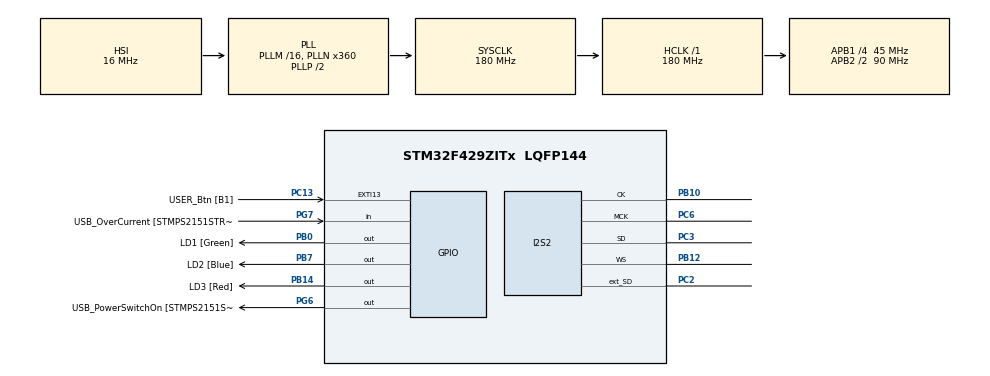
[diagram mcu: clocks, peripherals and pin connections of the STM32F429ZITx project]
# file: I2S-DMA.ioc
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Dma.I2S2_EXT_RX.1.Direction=DMA_PERIPH_TO_MEMORY
Dma.I2S2_EXT_RX.1.FIFOMode=DMA_FIFOMODE_DISABLE
Dma.I2S2_EXT_RX.1.Instance=DMA1_Stream3
Dma.I2S2_EXT_RX.1.MemDataAlignment=DMA_MDATAALIGN_HALFWORD
Dma.I2S2_EXT_RX.1.MemInc=DMA_MINC_ENABLE
Dma.I2S2_EXT_RX.1.Mode=DMA_CIRCULAR
Dma.I2S2_EXT_RX.1.PeriphDataAlignment=DMA_PDATAALIGN_HALFWORD
Dma.I2S2_EXT_RX.1.PeriphInc=DMA_PINC_DISABLE
Dma.I2S2_EXT_RX.1.Priority=DMA_PRIORITY_VERY_HIGH
Dma.Request0=SPI2_TX
Dma.Request1=I2S2_EXT_RX
Dma.SPI2_TX.0.Direction=DMA_MEMORY_TO_PERIPH
Dma.SPI2_TX.0.FIFOMode=DMA_FIFOMODE_DISABLE
Dma.SPI2_TX.0.Instance=DMA1_Stream4
Dma.SPI2_TX.0.MemDataAlignment=DMA_MDATAALIGN_HALFWORD
Dma.SPI2_TX.0.MemInc=DMA_MINC_ENABLE
Dma.SPI2_TX.0.Mode=DMA_CIRCULAR
Dma.SPI2_TX.0.PeriphDataAlignment=DMA_PDATAALIGN_HALFWORD
Dma.SPI2_TX.0.PeriphInc=DMA_PINC_DISABLE
Dma.SPI2_TX.0.Priority=DMA_PRIORITY_VERY_HIGH
I2S2.AudioFreq=I2S_AUDIOFREQ_48K
I2S2.DataFormat=I2S_DATAFORMAT_24B
I2S2.ErrorAudioFreq=0.19 %
I2S2.FullDuplexMode=I2S_FULLDUPLEXMODE_ENABLE
I2S2.Instance=SPI$Index
I2S2.RealAudioFreq=48.095 KHz
I2S2.VirtualMode=I2S_MODE_MASTER
Mcu.Family=STM32F4
Mcu.Name=STM32F429ZITx
Mcu.Package=LQFP144
NVIC.DMA1_Stream3_IRQn=true\:0\:0\:false\:false\:true\:false\:true\:true
NVIC.DMA1_Stream4_IRQn=true\:0\:0\:false\:false\:true\:false\:true\:true
NVIC.PriorityGroup=NVIC_PRIORITYGROUP_4
PA1.GPIO_Label=RMII_REF_CLK [LAN8742A-CZ-TR_REFCLK0]
PA1.Signal=ETH_REF_CLK
PA10.GPIO_Label=USB_ID
PA10.Signal=USB_OTG_FS_ID
PA11.GPIO_Label=USB_DM
PA11.Signal=USB_OTG_FS_DM
PA12.GPIO_Label=USB_DP
PA12.Signal=USB_OTG_FS_DP
PA13.GPIO_Label=TMS
PA13.Signal=SYS_JTMS-SWDIO
PA14.GPIO_Label=TCK
PA14.Signal=SYS_JTCK-SWCLK
PA2.GPIO_Label=RMII_MDIO [LAN8742A-CZ-TR_MDIO]
PA2.Signal=ETH_MDIO
PA7.GPIO_Label=RMII_CRS_DV [LAN8742A-CZ-TR_CRS_DV]
PA7.Signal=ETH_CRS_DV
PA8.GPIO_Label=USB_SOF [TP1]
PA8.Signal=USB_OTG_FS_SOF
PA9.GPIO_Label=USB_VBUS
PA9.Signal=USB_OTG_FS_VBUS
PB0.GPIO_Label=LD1 [Green]
PB0.Signal=GPIO_Output
PB10.Mode=Full_Duplex_Master
PB10.Signal=I2S2_CK
PB12.Mode=Full_Duplex_Master
PB12.Signal=I2S2_WS
PB13.GPIO_Label=RMII_TXD1 [LAN8742A-CZ-TR_TXD1]
PB13.Signal=ETH_TXD1
PB14.GPIO_Label=LD3 [Red]
PB14.Signal=GPIO_Output
PB7.GPIO_Label=LD2 [Blue]
PB7.Signal=GPIO_Output
PC1.GPIO_Label=RMII_MDC [LAN8742A-CZ-TR_MDC]
PC1.Signal=ETH_MDC
PC13.GPIO_Label=USER_Btn [B1]
PC13.Signal=GPXTI13
PC14/OSC32_IN.Signal=RCC_OSC32_IN
PC15/OSC32_OUT.Signal=RCC_OSC32_OUT
PC2.Mode=Full_Duplex_Master
PC2.Signal=I2S2_ext_SD
PC3.Mode=Full_Duplex_Master
PC3.Signal=I2S2_SD
PC4.GPIO_Label=RMII_RXD0 [LAN8742A-CZ-TR_RXD0]
PC4.Signal=ETH_RXD0
PC5.GPIO_Label=RMII_RXD1 [LAN8742A-CZ-TR_RXD1]
PC5.Signal=ETH_RXD1
PC6.Mode=Master_Clock_Activated
PC6.Signal=I2S2_MCK
PD8.GPIO_Label=STLK_RX [STM32F103CBT6_PA3]
PD8.Signal=USART3_TX
PD9.GPIO_Label=STLK_TX [STM32F103CBT6_PA2]
PD9.Signal=USART3_RX
PG11.GPIO_Label=RMII_TX_EN [LAN8742A-CZ-TR_TXEN]
PG11.Signal=ETH_TX_EN
PG13.GPIO_Label=RMII_TXD0 [LAN8742A-CZ-TR_TXD0]
PG13.Signal=ETH_TXD0
PG6.GPIO_Label=USB_PowerSwitchOn [STMPS2151STR_EN]
PG6.Signal=GPIO_Output
PG7.GPIO_Label=USB_OverCurrent [STMPS2151STR_FAULT]
PG7.Signal=GPIO_Input
PH0/OSC_IN.GPIO_Label=MCO [STM32F103CBT6_PA8]
PH0/OSC_IN.Signal=RCC_OSC_IN
PH1/OSC_OUT.Signal=RCC_OSC_OUT
ProjectManager.HeapSize=0x200
ProjectManager.StackSize=0x400
ProjectManager.TargetToolchain=CMake
RCC.48MHZClocksFreq_Value=90000000
RCC.AHBFreq_Value=180000000
RCC.APB1CLKDivider=RCC_HCLK_DIV4
RCC.APB1Freq_Value=45000000
RCC.APB1TimFreq_Value=90000000
RCC.APB2CLKDivider=RCC_HCLK_DIV2
RCC.APB2Freq_Value=90000000
RCC.APB2TimFreq_Value=180000000
RCC.CortexFreq_Value=180000000
RCC.HCLKFreq_Value=180000000
RCC.HSE_VALUE=8000000
RCC.HSI_VALUE=16000000
RCC.LSE_VALUE=32768
RCC.PLLI2SN=197
RCC.PLLI2SR=4
RCC.PLLMUL=RCC_PLL_MUL9
RCC.PLLN=360
RCC.PRESCALERUSB=RCC_USBCLKSOURCE_PLL_DIV1_5
RCC.SYSCLKFreq_VALUE=180000000
RCC.SYSCLKSource=RCC_SYSCLKSOURCE_PLLCLK
RCC.SYSCLKSourceVirtual=RCC_SYSCLKSOURCE_PLLCLK
RCC.USBFreq_Value=48000000
RCC.VCOOutputFreq_Value=360000000
board=NUCLEO-F429ZI

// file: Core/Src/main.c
/* USER CODE BEGIN Header */
/**
  ******************************************************************************
  * @file           : main.c
  * @brief          : Main program body
  ******************************************************************************
  * @attention
  *
  * Copyright (c) 2025 STMicroelectronics.
  * All rights reserved.
  *
  * This software is licensed under terms that can be found in the LICENSE file
  * in the root directory of this software component.
  * If no LICENSE file comes with this software, it is provided AS-IS.
  *
  ******************************************************************************
  */
/* USER CODE END Header */
#include "main.h"
/* USER CODE BEGIN Includes */
#include "SEGGER_SYSVIEW.h"
#include "SEGGER_SYSVIEW_Conf.h"
#include "dsp_configuration.h"
#include "audio_processing.h"
/* USER CODE END Includes */

I2S_HandleTypeDef hi2s2;
DMA_HandleTypeDef hdma_spi2_tx;
DMA_HandleTypeDef hdma_i2s2_ext_rx;

void SystemClock_Config(void);
static void MX_GPIO_Init(void);
static void MX_DMA_Init(void);
static void MX_I2S2_Init(void);

/* USER CODE BEGIN 0 */
//void SYSVIEW_AddTask(void* pTask, const char* sName, U32 Prio);
/*Callbacks to update processing buffers for dual buffering*/
void HAL_I2SEx_TxRxHalfCpltCallback(I2S_HandleTypeDef *hi2s){
	audio_SetCallbackState(I2S_DMA_CALLBACK_HALF);
}

void HAL_I2SEx_TxRxCpltCallback(I2S_HandleTypeDef *hi2s){
  SEGGER_SYSVIEW_RecordEnterISR();
  audio_SetCallbackState(I2S_DMA_CALLBACK_FULL);
  SEGGER_SYSVIEW_RecordExitISR();
}

void toggleLEDs(void)
{
  SEGGER_SYSVIEW_RecordVoid(34);
  SEGGER_SYSVIEW_Print("LED: Toggling LEDs");
  HAL_GPIO_TogglePin(LD1_GPIO_Port, LD1_Pin);
  HAL_GPIO_TogglePin(LD2_GPIO_Port, LD2_Pin);
  HAL_GPIO_TogglePin(LD3_GPIO_Port, LD3_Pin);
  SEGGER_SYSVIEW_RecordEndCall(34);
}
/* USER CODE END 0 */

int main(void)
{

  /* MCU Configuration--------------------------------------------------------*/

  /* Reset of all peripherals, Initializes the Flash interface and the Systick. */
  HAL_Init();

  /* Configure the system clock */
  SystemClock_Config();

  /* Initialize all configured peripherals */
  MX_GPIO_Init();
  MX_DMA_Init();
  MX_I2S2_Init();
  /* USER CODE BEGIN 2 */
  SEGGER_SYSVIEW_Conf();    /* Configure and initialize SystemView  */
  SEGGER_SYSVIEW_Start();   /* Starts SystemView recording*/
  SEGGER_SYSVIEW_OnIdle();  /* Tells SystemView that System is currently in "Idle"*/
  audio_InitFX(); //Initialize audio effects
  //start i2s with 128 samples transmission => 512*u16 words
  HAL_I2SEx_TransmitReceive_DMA (&hi2s2, audio_getTxBuf(), audio_getRxBuf(), BLOCK_SIZE_U16);
  /* USER CODE END 2 */

  /* Infinite loop */
  /* USER CODE BEGIN WHILE */
  while (1)
  {
    processAudio();
  }
	/* USER CODE END WHILE */
}

void SystemClock_Config(void)
{
  RCC_OscInitTypeDef RCC_OscInitStruct = {0};
  RCC_ClkInitTypeDef RCC_ClkInitStruct = {0};

  /** Configure the main internal regulator output voltage
  */
  __HAL_RCC_PWR_CLK_ENABLE();
  __HAL_PWR_VOLTAGESCALING_CONFIG(PWR_REGULATOR_VOLTAGE_SCALE1);

  /** Initializes the RCC Oscillators according to the specified parameters
  * in the RCC_OscInitTypeDef structure.
  */
  RCC_OscInitStruct.OscillatorType = RCC_OSCILLATORTYPE_HSI;
  RCC_OscInitStruct.HSIState = RCC_HSI_ON;
  RCC_OscInitStruct.HSICalibrationValue = RCC_HSICALIBRATION_DEFAULT;
  RCC_OscInitStruct.PLL.PLLState = RCC_PLL_ON;
  RCC_OscInitStruct.PLL.PLLSource = RCC_PLLSOURCE_HSI;
  RCC_OscInitStruct.PLL.PLLM = 16;
  RCC_OscInitStruct.PLL.PLLN = 360;
  RCC_OscInitStruct.PLL.PLLP = RCC_PLLP_DIV2;
  RCC_OscInitStruct.PLL.PLLQ = 4;
  if (HAL_RCC_OscConfig(&RCC_OscInitStruct) != HAL_OK)
  {
    Error_Handler();
  }

  /** Activate the Over-Drive mode
  */
  if (HAL_PWREx_EnableOverDrive() != HAL_OK)
  {
    Error_Handler();
  }

  /** Initializes the CPU, AHB and APB buses clocks
  */
  RCC_ClkInitStruct.ClockType = RCC_CLOCKTYPE_HCLK|RCC_CLOCKTYPE_SYSCLK
                              |RCC_CLOCKTYPE_PCLK1|RCC_CLOCKTYPE_PCLK2;
  RCC_ClkInitStruct.SYSCLKSource = RCC_SYSCLKSOURCE_PLLCLK;
  RCC_ClkInitStruct.AHBCLKDivider = RCC_SYSCLK_DIV1;
  RCC_ClkInitStruct.APB1CLKDivider = RCC_HCLK_DIV4;
  RCC_ClkInitStruct.APB2CLKDivider = RCC_HCLK_DIV2;

  if (HAL_RCC_ClockConfig(&RCC_ClkInitStruct, FLASH_LATENCY_5) != HAL_OK)
  {
    Error_Handler();
  }
}

static void MX_I2S2_Init(void)
{

  hi2s2.Instance = SPI2;
  hi2s2.Init.Mode = I2S_MODE_MASTER_TX;
  hi2s2.Init.Standard = I2S_STANDARD_PHILIPS;
  hi2s2.Init.DataFormat = I2S_DATAFORMAT_24B;
  hi2s2.Init.MCLKOutput = I2S_MCLKOUTPUT_ENABLE;
  hi2s2.Init.AudioFreq = I2S_AUDIOFREQ_48K;
  hi2s2.Init.CPOL = I2S_CPOL_LOW;
  hi2s2.Init.ClockSource = I2S_CLOCK_PLL;
  hi2s2.Init.FullDuplexMode = I2S_FULLDUPLEXMODE_ENABLE;
  if (HAL_I2S_Init(&hi2s2) != HAL_OK)
  {
    Error_Handler();
  }

}

static void MX_DMA_Init(void)
{

  /* DMA controller clock enable */
  __HAL_RCC_DMA1_CLK_ENABLE();

  /* DMA interrupt init */
  /* DMA1_Stream3_IRQn interrupt configuration */
  HAL_NVIC_SetPriority(DMA1_Stream3_IRQn, 0, 0);
  HAL_NVIC_EnableIRQ(DMA1_Stream3_IRQn);
  /* DMA1_Stream4_IRQn interrupt configuration */
  HAL_NVIC_SetPriority(DMA1_Stream4_IRQn, 0, 0);
  HAL_NVIC_EnableIRQ(DMA1_Stream4_IRQn);

}

static void MX_GPIO_Init(void)
{
  GPIO_InitTypeDef GPIO_InitStruct = {0};

  /* GPIO Ports Clock Enable */
  __HAL_RCC_GPIOC_CLK_ENABLE();
  __HAL_RCC_GPIOH_CLK_ENABLE();
  __HAL_RCC_GPIOA_CLK_ENABLE();
  __HAL_RCC_GPIOB_CLK_ENABLE();
  __HAL_RCC_GPIOD_CLK_ENABLE();
  __HAL_RCC_GPIOG_CLK_ENABLE();

  /*Configure GPIO pin Output Level */
  HAL_GPIO_WritePin(GPIOB, LD1_Pin|LD3_Pin|LD2_Pin, GPIO_PIN_RESET);

  /*Configure GPIO pin Output Level */
  HAL_GPIO_WritePin(USB_PowerSwitchOn_GPIO_Port, USB_PowerSwitchOn_Pin, GPIO_PIN_RESET);

  /*Configure GPIO pin : USER_Btn_Pin */
  GPIO_InitStruct.Pin = USER_Btn_Pin;
  GPIO_InitStruct.Mode = GPIO_MODE_IT_RISING;
  GPIO_InitStruct.Pull = GPIO_NOPULL;
  HAL_GPIO_Init(USER_Btn_GPIO_Port, &GPIO_InitStruct);

  /*Configure GPIO pins : RMII_MDC_Pin RMII_RXD0_Pin RMII_RXD1_Pin */
  GPIO_InitStruct.Pin = RMII_MDC_Pin|RMII_RXD0_Pin|RMII_RXD1_Pin;
  GPIO_InitStruct.Mode = GPIO_MODE_AF_PP;
  GPIO_InitStruct.Pull = GPIO_NOPULL;
  GPIO_InitStruct.Speed = GPIO_SPEED_FREQ_VERY_HIGH;
  GPIO_InitStruct.Alternate = GPIO_AF11_ETH;
  HAL_GPIO_Init(GPIOC, &GPIO_InitStruct);

  /*Configure GPIO pins : RMII_REF_CLK_Pin RMII_MDIO_Pin RMII_CRS_DV_Pin */
  GPIO_InitStruct.Pin = RMII_REF_CLK_Pin|RMII_MDIO_Pin|RMII_CRS_DV_Pin;
  GPIO_InitStruct.Mode = GPIO_MODE_AF_PP;
  GPIO_InitStruct.Pull = GPIO_NOPULL;
  GPIO_InitStruct.Speed = GPIO_SPEED_FREQ_VERY_HIGH;
  GPIO_InitStruct.Alternate = GPIO_AF11_ETH;
  HAL_GPIO_Init(GPIOA, &GPIO_InitStruct);

  /*Configure GPIO pins : LD1_Pin LD3_Pin LD2_Pin */
  GPIO_InitStruct.Pin = LD1_Pin|LD3_Pin|LD2_Pin;
  GPIO_InitStruct.Mode = GPIO_MODE_OUTPUT_PP;
  GPIO_InitStruct.Pull = GPIO_NOPULL;
  GPIO_InitStruct.Speed = GPIO_SPEED_FREQ_LOW;
  HAL_GPIO_Init(GPIOB, &GPIO_InitStruct);

  /*Configure GPIO pin : RMII_TXD1_Pin */
  GPIO_InitStruct.Pin = RMII_TXD1_Pin;
  GPIO_InitStruct.Mode = GPIO_MODE_AF_PP;
  GPIO_InitStruct.Pull = GPIO_NOPULL;
  GPIO_InitStruct.Speed = GPIO_SPEED_FREQ_VERY_HIGH;
  GPIO_InitStruct.Alternate = GPIO_AF11_ETH;
  HAL_GPIO_Init(RMII_TXD1_GPIO_Port, &GPIO_InitStruct);

  /*Configure GPIO pins : STLK_RX_Pin STLK_TX_Pin */
  GPIO_InitStruct.Pin = STLK_RX_Pin|STLK_TX_Pin;
  GPIO_InitStruct.Mode = GPIO_MODE_AF_PP;
  GPIO_InitStruct.Pull = GPIO_NOPULL;
  GPIO_InitStruct.Speed = GPIO_SPEED_FREQ_VERY_HIGH;
  GPIO_InitStruct.Alternate = GPIO_AF7_USART3;
  HAL_GPIO_Init(GPIOD, &GPIO_InitStruct);

  /*Configure GPIO pin : USB_PowerSwitchOn_Pin */
  GPIO_InitStruct.Pin = USB_PowerSwitchOn_Pin;
  GPIO_InitStruct.Mode = GPIO_MODE_OUTPUT_PP;
  GPIO_InitStruct.Pull = GPIO_NOPULL;
  GPIO_InitStruct.Speed = GPIO_SPEED_FREQ_LOW;
  HAL_GPIO_Init(USB_PowerSwitchOn_GPIO_Port, &GPIO_InitStruct);

  /*Configure GPIO pin : USB_OverCurrent_Pin */
  GPIO_InitStruct.Pin = USB_OverCurrent_Pin;
  GPIO_InitStruct.Mode = GPIO_MODE_INPUT;
  GPIO_InitStruct.Pull = GPIO_NOPULL;
  HAL_GPIO_Init(USB_OverCurrent_GPIO_Port, &GPIO_InitStruct);

  /*Configure GPIO pins : USB_SOF_Pin USB_ID_Pin USB_DM_Pin USB_DP_Pin */
  GPIO_InitStruct.Pin = USB_SOF_Pin|USB_ID_Pin|USB_DM_Pin|USB_DP_Pin;
  GPIO_InitStruct.Mode = GPIO_MODE_AF_PP;
  GPIO_InitStruct.Pull = GPIO_NOPULL;
  GPIO_InitStruct.Speed = GPIO_SPEED_FREQ_VERY_HIGH;
  GPIO_InitStruct.Alternate = GPIO_AF10_OTG_FS;
  HAL_GPIO_Init(GPIOA, &GPIO_InitStruct);

  /*Configure GPIO pin : USB_VBUS_Pin */
  GPIO_InitStruct.Pin = USB_VBUS_Pin;
  GPIO_InitStruct.Mode = GPIO_MODE_INPUT;
  GPIO_InitStruct.Pull = GPIO_NOPULL;
  HAL_GPIO_Init(USB_VBUS_GPIO_Port, &GPIO_InitStruct);

  /*Configure GPIO pins : RMII_TX_EN_Pin RMII_TXD0_Pin */
  GPIO_InitStruct.Pin = RMII_TX_EN_Pin|RMII_TXD0_Pin;
  GPIO_InitStruct.Mode = GPIO_MODE_AF_PP;
  GPIO_InitStruct.Pull = GPIO_NOPULL;
  GPIO_InitStruct.Speed = GPIO_SPEED_FREQ_VERY_HIGH;
  GPIO_InitStruct.Alternate = GPIO_AF11_ETH;
  HAL_GPIO_Init(GPIOG, &GPIO_InitStruct);

}

void Error_Handler(void)
{
  __disable_irq();
  while (1)
  {
  }
}
